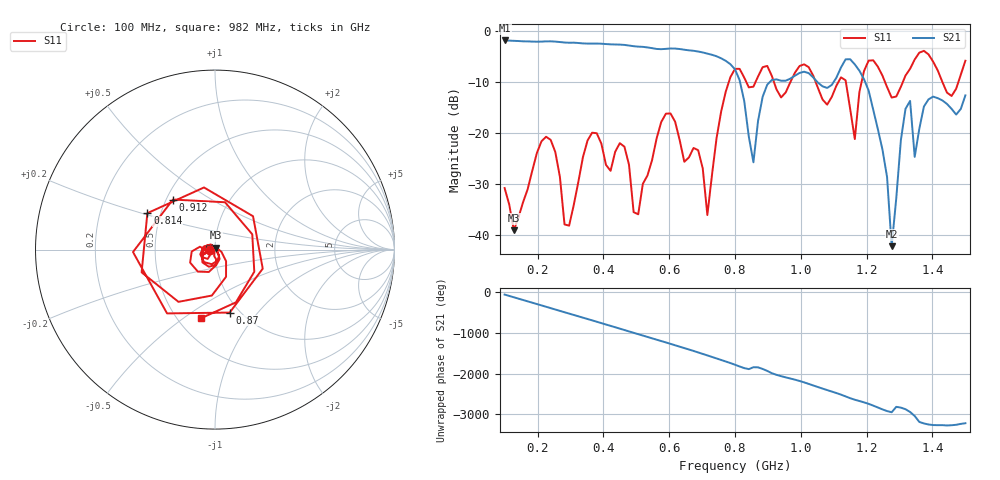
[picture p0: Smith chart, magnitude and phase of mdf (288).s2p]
! NanoVNA-App
! Date: 2025-09-25 15:40:40
! Start: 100MHz Stop: 1,5GHz Points: 101
! S-Parameter data: F S11 S21 S12 S22
# Hz S RI R 50
!  Frequency  S11_Real  S11_Imag  S21_Real  S21_Imag  S12_Real  S12_Imag  S22_Real  S22_Imag
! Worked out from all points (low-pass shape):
!   101 points, 100 MHz to 1.5 GHz, reference 50 ohm
!   highest |S21| = -1.80 dB at 100 MHz (marker M1); lowest = -42.1 dB at 1.276 GHz (marker M2)
!   |S21| within 3 dB of the highest: start of sweep to 739.2 MHz
!   lowest |S11| = -39.0 dB at 128 MHz (marker M3), VSWR 1.02, Z = 50.3 + j1.07 ohm
!   |S11| at or under -10 dB: start of sweep to 781 MHz; 918.6 MHz to 968 MHz (49.45 MHz wide, 5.24 % of centre); 1.045 GHz to 1.114 GHz (68.43 MHz wide, 6.34 % of centre) (the widest 3 of 7)
!   S12 and S22 are empty: the file has one direction only
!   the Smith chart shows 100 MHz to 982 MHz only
!   S11 on the Smith chart (normalised r, x): 100 MHz: 0.94, -0.01; 814 MHz: 0.42, +0.21; 870 MHz: 0.90, -0.73; 912 MHz: 0.54, +0.35; 982 MHz: 0.64, -0.58
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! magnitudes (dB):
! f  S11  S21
! 100 MHz  -30.7  -1.8
! 128 MHz  -39.0  -1.9
! 212 MHz  -21.6  -2.0
! 282 MHz  -37.9  -2.2
! 338 MHz  -24.7  -2.4
! 464 MHz  -22.6  -2.7
! 506 MHz  -35.9  -3.0
! 576 MHz  -17.8  -3.5
! 716 MHz  -36.0  -4.4
! 800 MHz  -7.4  -7.5
! 814 MHz  -7.4  -9.6
! 856 MHz  -10.9  -25.7
! 870 MHz  -8.9  -17.6
! 912 MHz  -8.8  -9.6
! 982 MHz  -8.1  -8.7
! 1.038 GHz  -8.8  -9.1
! 1.164 GHz  -21.1  -6.5
! 1.192 GHz  -7.8  -9.4
! 1.276 GHz  -13.0  -42.1
! 1.318 GHz  -8.7  -15.2
! 1.346 GHz  -5.5  -24.6
! 1.5 GHz  -5.8  -12.6
